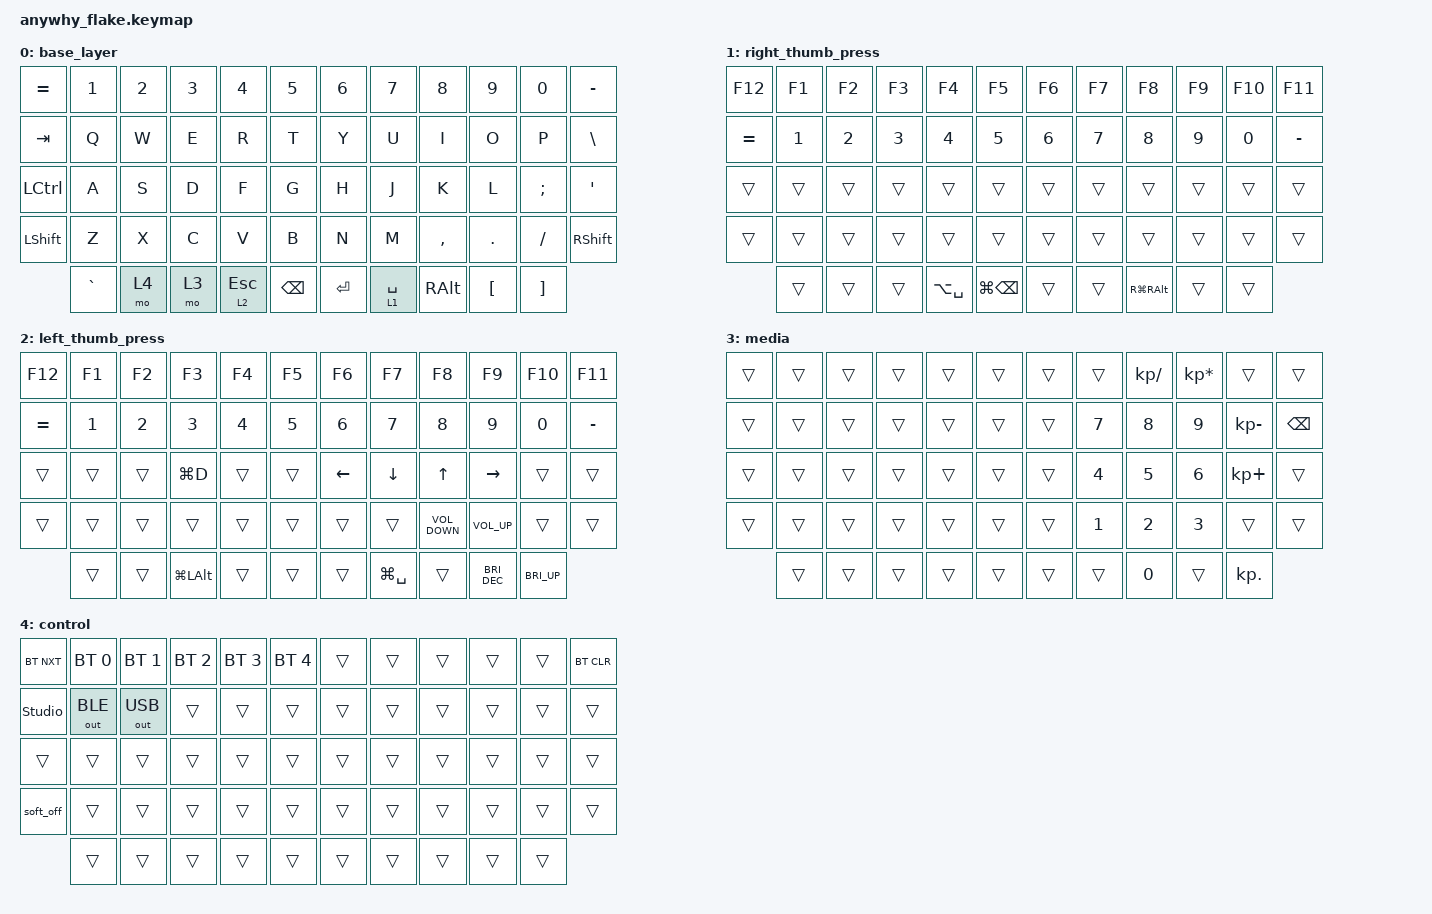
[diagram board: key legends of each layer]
#include <behaviors.dtsi>
#include <dt-bindings/zmk/bt.h>
#include <dt-bindings/zmk/keys.h>
#include <dt-bindings/zmk/outputs.h>

&lt {
    tapping-term-ms = <170>;
    flavor = "balanced";
    require-prior-idle-ms = <150>;
    retro-tap;
};

&mt {
    flavor = "balanced";
    require-prior-idle-ms = <150>;
    tapping-term-ms = <170>;
};

/ {
    macros {
        swap: swapper {
            compatible = "zmk,behavior-tri-state";
            label = "SWAPPER";
            #binding-cells = <0>;
            bindings = <&kt LGUI>, <&kp TAB>, <&kt LGUI>;

            ignored-layers = <1 2>;
            ignored-key-positions = <12 36 47>;
        };

        tmux_prev_window: tmux_prev_window {
            compatible = "zmk,behavior-macro";
            #binding-cells = <0>;
            bindings = <&kp LC(SPACE) &kp P>;
            label = "TMUX_PREV_WINDOW";
        };

        tmux_next_window: tmux_next_window {
            compatible = "zmk,behavior-macro";
            #binding-cells = <0>;
            bindings = <&kp LC(SPACE) &kp N>;
            label = "TMUX_NEXT_WINDOW";
        };
    };

    combos {
        compatible = "zmk,combos";

        hmr_lgui {
            bindings = <&kp LGUI>;
            key-positions = <28 27>;
            require-prior-idle-ms = <150>;
        };

        hmr_lalt {
            bindings = <&kp LALT>;
            key-positions = <27 26>;
            require-prior-idle-ms = <150>;
        };

        hmr_lgui_shift {
            bindings = <&kp LS(LGUI)>;
            key-positions = <26 27 28>;
            require-prior-idle-ms = <150>;
        };

        hmr_rgui {
            bindings = <&kp RGUI>;
            key-positions = <31 32>;
            require-prior-idle-ms = <150>;
        };

        hmr_ralt {
            bindings = <&kp RALT>;
            key-positions = <32 33>;
            require-prior-idle-ms = <150>;
        };

        hmr_rgui_rshift {
            bindings = <&kp RS(RGUI)>;
            key-positions = <31 32 33>;
            require-prior-idle-ms = <150>;
        };

        hmr_rSAG {
            bindings = <&kp RS(RA(RIGHT_GUI))>;
            key-positions = <31 32 33 34>;
            require-prior-idle-ms = <150>;
        };

        hmr_lSAG {
            bindings = <&kp LA(LS(LGUI))>;
            key-positions = <25 26 27 28>;
            require-prior-idle-ms = <150>;
        };

        trigger-soft-off {
            bindings = <&soft_off>;
            key-positions = <0 36>;
        };
    };

    behaviors {
    };

    keymap {
        compatible = "zmk,keymap";

        base_layer {
            bindings = <
&kp EQUAL  &kp N1     &kp N2  &kp N3  &kp N4     &kp N5      &kp N6   &kp N7       &kp N8         &kp N9    &kp N0    &kp MINUS
&kp TAB    &kp Q      &kp W   &kp E   &kp R      &kp T       &kp Y    &kp U        &kp I          &kp O     &kp P     &kp BSLH
&kp LCTRL  &kp A      &kp S   &kp D   &kp F      &kp G       &kp H    &kp J        &kp K          &kp L     &kp SEMI  &kp SQT
&kp LSHFT  &kp Z      &kp X   &kp C   &kp V      &kp B       &kp N    &kp M        &kp COMMA      &kp DOT   &kp FSLH  &kp RSHFT
           &kp GRAVE  &mo 4   &mo 3   &lt 2 ESC  &kp BSPC    &kp RET  &lt 1 SPACE  &kp RIGHT_ALT  &kp LBKT  &kp RBKT
            >;
        };

        right_thumb_press {
            bindings = <
&kp F12    &kp F1        &kp F2        &kp F3        &kp F4         &kp F5          &kp F6        &kp F7        &kp F8        &kp F9        &kp F10       &kp F11
&kp EQUAL  &kp NUMBER_1  &kp NUMBER_2  &kp NUMBER_3  &kp NUMBER_4   &kp NUMBER_5    &kp NUMBER_6  &kp NUMBER_7  &kp NUMBER_8  &kp NUMBER_9  &kp NUMBER_0  &kp MINUS
&trans     &trans        &trans        &trans        &trans         &trans          &trans        &trans        &trans        &trans        &trans        &trans
&trans     &trans        &trans        &trans        &trans         &trans          &trans        &trans        &trans        &trans        &trans        &trans
           &trans        &trans        &trans        &kp LA(SPACE)  &kp LG(BSPC)    &trans        &trans        &kp RG(RALT)  &trans        &trans
            >;
        };

        left_thumb_press {
            bindings = <
&kp F12    &kp F1        &kp F2        &kp F3            &kp F4        &kp F5          &kp F6        &kp F7         &kp F8             &kp F9           &kp F10       &kp F11
&kp EQUAL  &kp NUMBER_1  &kp NUMBER_2  &kp NUMBER_3      &kp NUMBER_4  &kp NUMBER_5    &kp NUMBER_6  &kp NUMBER_7   &kp NUMBER_8       &kp NUMBER_9     &kp NUMBER_0  &kp MINUS
&trans     &trans        &trans        &kp LG(D)         &trans        &trans          &kp LEFT      &kp DOWN       &kp UP             &kp RIGHT        &trans        &trans
&trans     &trans        &trans        &trans            &trans        &trans          &trans        &trans         &kp C_VOLUME_DOWN  &kp C_VOLUME_UP  &trans        &trans
           &trans        &trans        &kp LG(LEFT_ALT)  &trans        &trans          &trans        &kp LG(SPACE)  &trans             &kp C_BRI_DEC    &kp C_BRI_UP
            >;
        };

        media {
            bindings = <
&trans  &trans  &trans  &trans  &trans  &trans    &trans  &trans        &kp KP_SLASH  &kp KP_ASTERISK  &trans           &trans
&trans  &trans  &trans  &trans  &trans  &trans    &trans  &kp NUMBER_7  &kp NUMBER_8  &kp NUMBER_9     &kp KP_SUBTRACT  &kp BACKSPACE
&trans  &trans  &trans  &trans  &trans  &trans    &trans  &kp NUMBER_4  &kp NUMBER_5  &kp NUMBER_6     &kp KP_PLUS      &trans
&trans  &trans  &trans  &trans  &trans  &trans    &trans  &kp NUMBER_1  &kp NUMBER_2  &kp NUMBER_3     &trans           &trans
        &trans  &trans  &trans  &trans  &trans    &trans  &trans        &kp NUMBER_0  &trans           &kp KP_DOT
            >;
        };

        control {
            bindings = <
&bt BT_NXT      &bt BT_SEL 0  &bt BT_SEL 1  &bt BT_SEL 2  &bt BT_SEL 3  &bt BT_SEL 4    &trans  &trans  &trans  &trans  &trans  &bt BT_CLR
&studio_unlock  &out OUT_BLE  &out OUT_USB  &trans        &trans        &trans          &trans  &trans  &trans  &trans  &trans  &trans
&trans          &trans        &trans        &trans        &trans        &trans          &trans  &trans  &trans  &trans  &trans  &trans
&soft_off       &trans        &trans        &trans        &trans        &trans          &trans  &trans  &trans  &trans  &trans  &trans
                &trans        &trans        &trans        &trans        &trans          &trans  &trans  &trans  &trans  &trans
            >;
        };
    };
};
